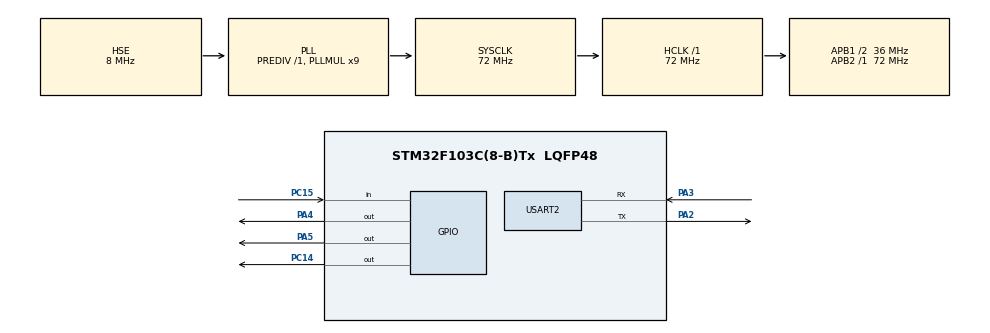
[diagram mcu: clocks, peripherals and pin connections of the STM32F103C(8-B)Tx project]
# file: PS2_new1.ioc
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Mcu.Family=STM32F1
Mcu.Name=STM32F103C(8-B)Tx
Mcu.Package=LQFP48
NVIC.PriorityGroup=NVIC_PRIORITYGROUP_4
PA13.Mode=Serial_Wire
PA13.Signal=SYS_JTMS-SWDIO
PA14.Mode=Serial_Wire
PA14.Signal=SYS_JTCK-SWCLK
PA2.Mode=Asynchronous
PA2.Signal=USART2_TX
PA3.Mode=Asynchronous
PA3.Signal=USART2_RX
PA4.Signal=GPIO_Output
PA5.Signal=GPIO_Output
PC14-OSC32_IN.Signal=GPIO_Output
PC15-OSC32_OUT.GPIO_PuPd=GPIO_PULLUP
PC15-OSC32_OUT.Signal=GPIO_Input
PD0-OSC_IN.Mode=HSE-External-Oscillator
PD0-OSC_IN.Signal=RCC_OSC_IN
PD1-OSC_OUT.Mode=HSE-External-Oscillator
PD1-OSC_OUT.Signal=RCC_OSC_OUT
ProjectManager.HeapSize=0x200
ProjectManager.StackSize=0x400
ProjectManager.TargetToolchain=MDK-ARM V5.32
RCC.AHBFreq_Value=72000000
RCC.APB1CLKDivider=RCC_HCLK_DIV2
RCC.APB1Freq_Value=36000000
RCC.APB1TimFreq_Value=72000000
RCC.APB2Freq_Value=72000000
RCC.APB2TimFreq_Value=72000000
RCC.HCLKFreq_Value=72000000
RCC.PLLMUL=RCC_PLL_MUL9
RCC.PLLSourceVirtual=RCC_PLLSOURCE_HSE
RCC.SYSCLKFreq_VALUE=72000000
RCC.SYSCLKSource=RCC_SYSCLKSOURCE_PLLCLK
RCC.USBFreq_Value=72000000
USART2.VirtualMode=VM_ASYNC
board=custom

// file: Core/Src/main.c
/* USER CODE BEGIN Header */
/**
  ******************************************************************************
  * @file           : main.c
  * @brief          : Main program body
  ******************************************************************************
  * @attention
  *
  * Copyright (c) 2024 STMicroelectronics.
  * All rights reserved.
  *
  * This software is licensed under terms that can be found in the LICENSE file
  * in the root directory of this software component.
  * If no LICENSE file comes with this software, it is provided AS-IS.
  *
  ******************************************************************************
  */
/* USER CODE END Header */
#include "main.h"
#include "usart.h"
#include "gpio.h"

/* USER CODE BEGIN Includes */

#include "delay.h"
#include "PS2_Get.h"
#include "stdio.h"

/* USER CODE END Includes */

/* USER CODE BEGIN PTD */

#pragma import(__use_no_semihosting)
//标准库需要的支持函数
struct __FILE
{
	int handle;
};

FILE __stdout;
//定义_sys_exit()以避免使用半主机模式
void _sys_exit(int x)
{
	x = x;
}
//重定义fputc函数
int fputc(int ch, FILE *f)
{
	while((USART2->SR&0X40)==0);//循环发送,直到发送完毕
    USART2->DR = (uint8_t) ch;
	return ch;
}

/* USER CODE END PTD */

/* USER CODE BEGIN PD */

int16_t PS2_LX,PS2_LY,PS2_RX,PS2_RY,PS2_KEY;

/* USER CODE END PD */

void SystemClock_Config(void);

int main(void)
{

  /* MCU Configuration--------------------------------------------------------*/

  /* Reset of all peripherals, Initializes the Flash interface and the Systick. */
  HAL_Init();

  /* Configure the system clock */
  SystemClock_Config();

  /* Initialize all configured peripherals */
  MX_GPIO_Init();
  MX_USART2_UART_Init();
  /* USER CODE BEGIN 2 */

	PS2_SetInit();

  /* USER CODE END 2 */

  /* Infinite loop */
  /* USER CODE BEGIN WHILE */
  while (1)
  {
			PS2_DataKey();			/* 实时读取按键数据 */
			PS2_Enable();				/* START键状态判断 */

			if(PS2_Start==1)		/* 按下START键后 */
			{
					PS2_RedLight();
			}

			if(Mode == 2)		/* 红绿灯模式下-->可以读取到摇杆按键值 */
			{
					/* 摇杆值获取 */
					PS2_LX=PS2_AnologData(PSS_LX) - 0x80;
					PS2_LY= - (PS2_AnologData(PSS_LY) - 0x80);
					if(PS2_LY==1) PS2_LY=0;										/* 死区限幅 */
					PS2_RX=PS2_AnologData(PSS_RX) - 0x80;
					PS2_RY= - (PS2_AnologData(PSS_RY) - 0x80);
					if(PS2_RY==1) PS2_RY=0;										/* 死区限幅 */
			}
			else /* 绿灯模式下-->无法读取到摇杆按键值 */
			{
					/* 摇杆值清零 */
					PS2_LX=0;
					PS2_LY=0;
					PS2_RX=0;
					PS2_RY=0;
			}

      printf("PS2_LX:%d\r\n",PS2_LX);
      printf("PS2_LY:%d\r\n",PS2_LY);
      printf("PS2_RX:%d\r\n",PS2_RX);
      printf("PS2_RY:%d\r\n\r\n",PS2_RY);

			/* 16个按键键码实时读取(数组) */
//			printf("%d",Get_PS2key[0]);
//			printf("%d",Get_PS2key[1]);
//			printf("%d",Get_PS2key[2]);
//			printf("%d",Get_PS2key[3]);
//			printf("%d",Get_PS2key[4]);
//			printf("%d",Get_PS2key[5]);
//			printf("%d",Get_PS2key[6]);
//			printf("%d",Get_PS2key[7]);
//			printf("%d",Get_PS2key[8]);
//			printf("%d",Get_PS2key[9]);
//			printf("%d",Get_PS2key[10]);
//			printf("%d",Get_PS2key[11]);
//			printf("%d",Get_PS2key[12]);
//			printf("%d",Get_PS2key[13]);
//			printf("%d",Get_PS2key[14]);
//			printf("%d\n",Get_PS2key[15]);

      printf("MODE:%d\r\n",Mode);

			HAL_Delay(100);		/* 切记一定要加上适当延时！！ */

    /* USER CODE END WHILE */

  }
}

void SystemClock_Config(void)
{
  RCC_OscInitTypeDef RCC_OscInitStruct = {0};
  RCC_ClkInitTypeDef RCC_ClkInitStruct = {0};

  /** Initializes the RCC Oscillators according to the specified parameters
  * in the RCC_OscInitTypeDef structure.
  */
  RCC_OscInitStruct.OscillatorType = RCC_OSCILLATORTYPE_HSE;
  RCC_OscInitStruct.HSEState = RCC_HSE_ON;
  RCC_OscInitStruct.HSEPredivValue = RCC_HSE_PREDIV_DIV1;
  RCC_OscInitStruct.HSIState = RCC_HSI_ON;
  RCC_OscInitStruct.PLL.PLLState = RCC_PLL_ON;
  RCC_OscInitStruct.PLL.PLLSource = RCC_PLLSOURCE_HSE;
  RCC_OscInitStruct.PLL.PLLMUL = RCC_PLL_MUL9;
  if (HAL_RCC_OscConfig(&RCC_OscInitStruct) != HAL_OK)
  {
    Error_Handler();
  }

  /** Initializes the CPU, AHB and APB buses clocks
  */
  RCC_ClkInitStruct.ClockType = RCC_CLOCKTYPE_HCLK|RCC_CLOCKTYPE_SYSCLK
                              |RCC_CLOCKTYPE_PCLK1|RCC_CLOCKTYPE_PCLK2;
  RCC_ClkInitStruct.SYSCLKSource = RCC_SYSCLKSOURCE_PLLCLK;
  RCC_ClkInitStruct.AHBCLKDivider = RCC_SYSCLK_DIV1;
  RCC_ClkInitStruct.APB1CLKDivider = RCC_HCLK_DIV2;
  RCC_ClkInitStruct.APB2CLKDivider = RCC_HCLK_DIV1;

  if (HAL_RCC_ClockConfig(&RCC_ClkInitStruct, FLASH_LATENCY_2) != HAL_OK)
  {
    Error_Handler();
  }
}

void Error_Handler(void)
{
  __disable_irq();
  while (1)
  {
  }
}
